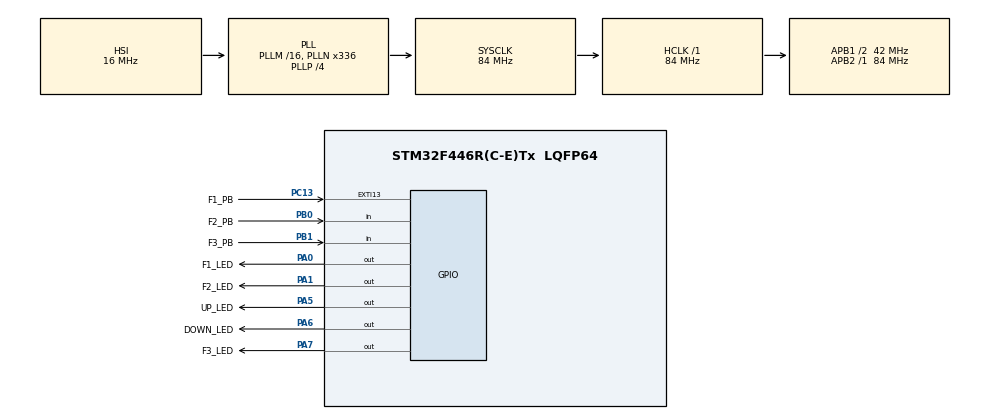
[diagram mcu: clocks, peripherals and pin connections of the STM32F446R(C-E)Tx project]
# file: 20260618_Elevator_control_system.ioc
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Mcu.Family=STM32F4
Mcu.Name=STM32F446R(C-E)Tx
Mcu.Package=LQFP64
NVIC.PriorityGroup=NVIC_PRIORITYGROUP_0
PA0-WKUP.GPIO_Label=F1_LED
PA0-WKUP.Signal=GPIO_Output
PA1.GPIO_Label=F2_LED
PA1.Signal=GPIO_Output
PA13.GPIO_Label=TMS
PA13.Mode=Serial_Wire
PA13.Signal=SYS_JTMS-SWDIO
PA14.GPIO_Label=TCK
PA14.Mode=Serial_Wire
PA14.Signal=SYS_JTCK-SWCLK
PA5.GPIO_Label=UP_LED
PA5.Signal=GPIO_Output
PA6.GPIO_Label=DOWN_LED
PA6.Signal=GPIO_Output
PA7.GPIO_Label=F3_LED
PA7.Signal=GPIO_Output
PB0.GPIO_Label=F2_PB
PB0.GPIO_Mode=GPIO_MODE_INPUT
PB0.GPIO_PuPd=GPIO_PULLUP
PB0.Signal=GPIO_Input
PB1.GPIO_Label=F3_PB
PB1.GPIO_PuPd=GPIO_PULLUP
PB1.Signal=GPIO_Input
PB3.GPIO_Label=SWO
PB3.Signal=SYS_JTDO-SWO
PC13.GPIO_Label=F1_PB
PC13.GPIO_ModeDefaultEXTI=GPIO_MODE_IT_FALLING
PC13.GPIO_PuPd=GPIO_PULLUP
PC13.Signal=GPXTI13
PC14-OSC32_IN.Mode=LSE-External-Oscillator
PC14-OSC32_IN.Signal=RCC_OSC32_IN
PC15-OSC32_OUT.Mode=LSE-External-Oscillator
PC15-OSC32_OUT.Signal=RCC_OSC32_OUT
PH0-OSC_IN.Mode=HSE-External-Oscillator
PH0-OSC_IN.Signal=RCC_OSC_IN
PH1-OSC_OUT.Mode=HSE-External-Oscillator
PH1-OSC_OUT.Signal=RCC_OSC_OUT
ProjectManager.HeapSize=0x200
ProjectManager.StackSize=0x400
ProjectManager.TargetToolchain=STM32CubeIDE
RCC.48MHZClocksFreq_Value=84000000
RCC.AHBFreq_Value=84000000
RCC.APB1CLKDivider=RCC_HCLK_DIV2
RCC.APB1Freq_Value=42000000
RCC.APB1TimFreq_Value=84000000
RCC.APB2Freq_Value=84000000
RCC.APB2TimFreq_Value=84000000
RCC.CortexFreq_Value=84000000
RCC.FLatency-AdvancedSettings=FLASH_LATENCY_2
RCC.HCLKFreq_Value=84000000
RCC.HSE_VALUE=8000000
RCC.HSI_VALUE=16000000
RCC.PLLN=336
RCC.PLLP=RCC_PLLP_DIV4
RCC.SYSCLKFreq_VALUE=84000000
RCC.SYSCLKSource=RCC_SYSCLKSOURCE_PLLCLK
RCC.USBFreq_Value=168000000
RCC.VCOOutputFreq_Value=336000000
board=NUCLEO-F446RE

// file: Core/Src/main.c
/* USER CODE BEGIN Header */
/**
  ******************************************************************************
  * @file           : main.c
  * @brief          : Main program body
  ******************************************************************************
  * @attention
  *
  * Copyright (c) 2026 STMicroelectronics.
  * All rights reserved.
  *
  * This software is licensed under terms that can be found in the LICENSE file
  * in the root directory of this software component.
  * If no LICENSE file comes with this software, it is provided AS-IS.
  *
  ******************************************************************************
  */
/* USER CODE END Header */
#include "main.h"

/* USER CODE BEGIN PTD */
typedef enum
{
    IDLE,
    MOVE_UP,
    MOVE_DOWN
} ElevatorState;

typedef enum
{
    DIR_NONE,
    DIR_UP,
    DIR_DOWN
} Direction;
/* USER CODE END PTD */

/* USER CODE BEGIN PV */
ElevatorState state = IDLE;
Direction direction = DIR_NONE;

uint8_t currentFloor = 1;
uint8_t targetFloor = 1;

uint8_t request[3] = {0,0,0};
/* USER CODE END PV */

void SystemClock_Config(void);
static void MX_GPIO_Init(void);
/* USER CODE BEGIN PFP */
void ShowFloor(uint8_t floor);
void ScanButtons(void);
uint8_t HasRequest(void);
int GetNextFloor(void);
void ElevatorFSM(void);
/* USER CODE END PFP */

/* USER CODE BEGIN 0 */
void ShowFloor(uint8_t floor)
{
    HAL_GPIO_WritePin(F1_LED_GPIO_Port, F1_LED_Pin, GPIO_PIN_RESET);
    HAL_GPIO_WritePin(F2_LED_GPIO_Port, F2_LED_Pin, GPIO_PIN_RESET);
    HAL_GPIO_WritePin(F3_LED_GPIO_Port, F3_LED_Pin, GPIO_PIN_RESET);

    switch(floor)
    {
        case 1:
            HAL_GPIO_WritePin(F1_LED_GPIO_Port, F1_LED_Pin, GPIO_PIN_SET);
            break;

        case 2:
            HAL_GPIO_WritePin(F2_LED_GPIO_Port, F2_LED_Pin, GPIO_PIN_SET);
            break;

        case 3:
            HAL_GPIO_WritePin(F3_LED_GPIO_Port, F3_LED_Pin, GPIO_PIN_SET);
            break;
    }
}

void ScanButtons(void)
{
    if(HAL_GPIO_ReadPin(F1_PB_GPIO_Port, F1_PB_Pin) == GPIO_PIN_RESET)
    {
        request[0] = 1;
        HAL_Delay(200);
    }

    if(HAL_GPIO_ReadPin(F2_PB_GPIO_Port, F2_PB_Pin) == GPIO_PIN_RESET)
    {
        request[1] = 1;
        HAL_Delay(200);
    }

    if(HAL_GPIO_ReadPin(F3_PB_GPIO_Port, F3_PB_Pin) == GPIO_PIN_RESET)
    {
        request[2] = 1;
        HAL_Delay(200);
    }
}

uint8_t HasRequest(void)
{
    return (request[0] || request[1] || request[2]);
}

int GetNextFloor(void)
{
    int i;

    if(direction == DIR_UP)
    {
        for(i=currentFloor+1; i<=3; i++)
        {
            if(request[i-1])
                return i;
        }

        direction = DIR_DOWN;

        for(i=currentFloor-1; i>=1; i--)
        {
            if(request[i-1])
                return i;
        }
    }

    else if(direction == DIR_DOWN)
    {
        for(i=currentFloor-1; i>=1; i--)
        {
            if(request[i-1])
                return i;
        }

        direction = DIR_UP;

        for(i=currentFloor+1; i<=3; i++)
        {
            if(request[i-1])
                return i;
        }
    }

    else
    {
        for(i=currentFloor+1; i<=3; i++)
        {
            if(request[i-1])
            {
                direction = DIR_UP;
                return i;
            }
        }

        for(i=currentFloor-1; i>=1; i--)
        {
            if(request[i-1])
            {
                direction = DIR_DOWN;
                return i;
            }
        }
    }

    return currentFloor;
}

void ElevatorFSM(void)
{
    switch(state)
    {
        case IDLE:

            if(HasRequest())
            {
                targetFloor = GetNextFloor();

                if(targetFloor > currentFloor)
                    state = MOVE_UP;

                else if(targetFloor < currentFloor)
                    state = MOVE_DOWN;
            }

            break;

        case MOVE_UP:

            HAL_GPIO_WritePin(UP_LED_GPIO_Port, UP_LED_Pin, GPIO_PIN_SET);
            HAL_GPIO_WritePin(DOWN_LED_GPIO_Port, DOWN_LED_Pin, GPIO_PIN_RESET);

            HAL_Delay(1000);

            currentFloor++;

            ShowFloor(currentFloor);

            if(currentFloor == targetFloor)
            {
                request[targetFloor-1] = 0;
                HAL_GPIO_WritePin(UP_LED_GPIO_Port, UP_LED_Pin, GPIO_PIN_RESET);
                state = IDLE;
            }

            break;

        case MOVE_DOWN:

            HAL_GPIO_WritePin(UP_LED_GPIO_Port, UP_LED_Pin, GPIO_PIN_RESET);
            HAL_GPIO_WritePin(DOWN_LED_GPIO_Port, DOWN_LED_Pin, GPIO_PIN_SET);

            HAL_Delay(1000);

            currentFloor--;

            ShowFloor(currentFloor);

            if(currentFloor == targetFloor)
            {
                request[targetFloor-1] = 0;
                HAL_GPIO_WritePin(DOWN_LED_GPIO_Port, DOWN_LED_Pin, GPIO_PIN_RESET);
                state = IDLE;
            }

            break;
    }
}
/* USER CODE END 0 */

int main(void)
{

  /* MCU Configuration--------------------------------------------------------*/

  /* Reset of all peripherals, Initializes the Flash interface and the Systick. */
  HAL_Init();

  /* Configure the system clock */
  SystemClock_Config();

  /* Initialize all configured peripherals */
  MX_GPIO_Init();
  /* USER CODE BEGIN 2 */
 // ShowFloor(currentFloor);
  /* USER CODE END 2 */

  /* Infinite loop */
  while (1)
  {

    /* USER CODE BEGIN 3 */
	  ScanButtons();

	  ElevatorFSM();
  }
  /* USER CODE END 3 */
}

void SystemClock_Config(void)
{
  RCC_OscInitTypeDef RCC_OscInitStruct = {0};
  RCC_ClkInitTypeDef RCC_ClkInitStruct = {0};

  /** Configure the main internal regulator output voltage
  */
  __HAL_RCC_PWR_CLK_ENABLE();
  __HAL_PWR_VOLTAGESCALING_CONFIG(PWR_REGULATOR_VOLTAGE_SCALE3);

  /** Initializes the RCC Oscillators according to the specified parameters
  * in the RCC_OscInitTypeDef structure.
  */
  RCC_OscInitStruct.OscillatorType = RCC_OSCILLATORTYPE_HSI;
  RCC_OscInitStruct.HSIState = RCC_HSI_ON;
  RCC_OscInitStruct.HSICalibrationValue = RCC_HSICALIBRATION_DEFAULT;
  RCC_OscInitStruct.PLL.PLLState = RCC_PLL_ON;
  RCC_OscInitStruct.PLL.PLLSource = RCC_PLLSOURCE_HSI;
  RCC_OscInitStruct.PLL.PLLM = 16;
  RCC_OscInitStruct.PLL.PLLN = 336;
  RCC_OscInitStruct.PLL.PLLP = RCC_PLLP_DIV4;
  RCC_OscInitStruct.PLL.PLLQ = 2;
  RCC_OscInitStruct.PLL.PLLR = 2;
  if (HAL_RCC_OscConfig(&RCC_OscInitStruct) != HAL_OK)
  {
    Error_Handler();
  }

  /** Initializes the CPU, AHB and APB buses clocks
  */
  RCC_ClkInitStruct.ClockType = RCC_CLOCKTYPE_HCLK|RCC_CLOCKTYPE_SYSCLK
                              |RCC_CLOCKTYPE_PCLK1|RCC_CLOCKTYPE_PCLK2;
  RCC_ClkInitStruct.SYSCLKSource = RCC_SYSCLKSOURCE_PLLCLK;
  RCC_ClkInitStruct.AHBCLKDivider = RCC_SYSCLK_DIV1;
  RCC_ClkInitStruct.APB1CLKDivider = RCC_HCLK_DIV2;
  RCC_ClkInitStruct.APB2CLKDivider = RCC_HCLK_DIV1;

  if (HAL_RCC_ClockConfig(&RCC_ClkInitStruct, FLASH_LATENCY_2) != HAL_OK)
  {
    Error_Handler();
  }
}

static void MX_GPIO_Init(void)
{
  GPIO_InitTypeDef GPIO_InitStruct = {0};

  /* GPIO Ports Clock Enable */
  __HAL_RCC_GPIOC_CLK_ENABLE();
  __HAL_RCC_GPIOH_CLK_ENABLE();
  __HAL_RCC_GPIOA_CLK_ENABLE();
  __HAL_RCC_GPIOB_CLK_ENABLE();

  /*Configure GPIO pin Output Level */
  HAL_GPIO_WritePin(GPIOA, F1_LED_Pin|F2_LED_Pin|UP_LED_Pin|DOWN_LED_Pin
                          |F3_LED_Pin, GPIO_PIN_RESET);

  /*Configure GPIO pin : F1_PB_Pin */
  GPIO_InitStruct.Pin = F1_PB_Pin;
  GPIO_InitStruct.Mode = GPIO_MODE_IT_FALLING;
  GPIO_InitStruct.Pull = GPIO_PULLUP;
  HAL_GPIO_Init(F1_PB_GPIO_Port, &GPIO_InitStruct);

  /*Configure GPIO pins : F1_LED_Pin F2_LED_Pin UP_LED_Pin DOWN_LED_Pin
                           F3_LED_Pin */
  GPIO_InitStruct.Pin = F1_LED_Pin|F2_LED_Pin|UP_LED_Pin|DOWN_LED_Pin
                          |F3_LED_Pin;
  GPIO_InitStruct.Mode = GPIO_MODE_OUTPUT_PP;
  GPIO_InitStruct.Pull = GPIO_NOPULL;
  GPIO_InitStruct.Speed = GPIO_SPEED_FREQ_LOW;
  HAL_GPIO_Init(GPIOA, &GPIO_InitStruct);

  /*Configure GPIO pins : F2_PB_Pin F3_PB_Pin */
  GPIO_InitStruct.Pin = F2_PB_Pin|F3_PB_Pin;
  GPIO_InitStruct.Mode = GPIO_MODE_INPUT;
  GPIO_InitStruct.Pull = GPIO_PULLUP;
  HAL_GPIO_Init(GPIOB, &GPIO_InitStruct);

}

void Error_Handler(void)
{
  __disable_irq();
  while (1)
  {
  }
}
